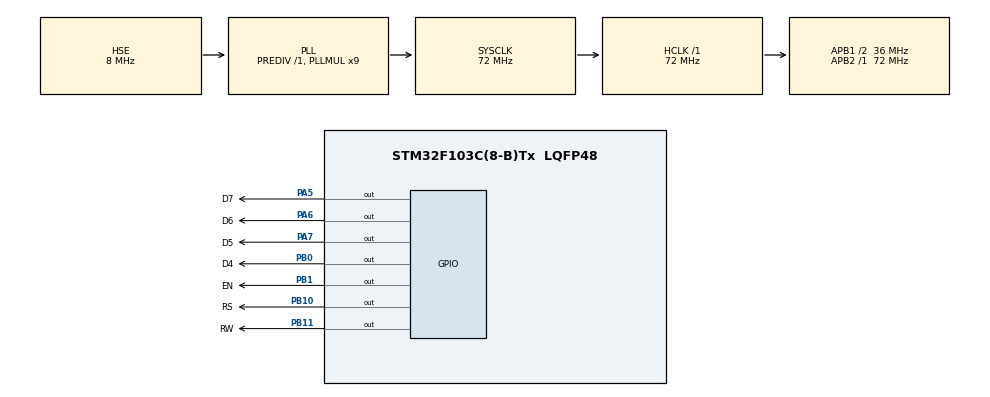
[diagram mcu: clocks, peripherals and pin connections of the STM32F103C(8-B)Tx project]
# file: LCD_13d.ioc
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Mcu.Family=STM32F1
Mcu.Name=STM32F103C(8-B)Tx
Mcu.Package=LQFP48
NVIC.PriorityGroup=NVIC_PRIORITYGROUP_4
PA13.Mode=Serial_Wire
PA13.Signal=SYS_JTMS-SWDIO
PA14.Mode=Serial_Wire
PA14.Signal=SYS_JTCK-SWCLK
PA5.GPIO_Label=D7
PA5.Signal=GPIO_Output
PA6.GPIO_Label=D6
PA6.Signal=GPIO_Output
PA7.GPIO_Label=D5
PA7.Signal=GPIO_Output
PB0.GPIO_Label=D4
PB0.Signal=GPIO_Output
PB1.GPIO_Label=EN
PB1.Signal=GPIO_Output
PB10.GPIO_Label=RS
PB10.Signal=GPIO_Output
PB11.GPIO_Label=RW
PB11.Signal=GPIO_Output
PD0-OSC_IN.Mode=HSE-External-Oscillator
PD0-OSC_IN.Signal=RCC_OSC_IN
PD1-OSC_OUT.Mode=HSE-External-Oscillator
PD1-OSC_OUT.Signal=RCC_OSC_OUT
ProjectManager.HeapSize=0x200
ProjectManager.StackSize=0x400
ProjectManager.TargetToolchain=MDK-ARM V5.32
RCC.AHBFreq_Value=72000000
RCC.APB1CLKDivider=RCC_HCLK_DIV2
RCC.APB1Freq_Value=36000000
RCC.APB1TimFreq_Value=72000000
RCC.APB2Freq_Value=72000000
RCC.APB2TimFreq_Value=72000000
RCC.HCLKFreq_Value=72000000
RCC.PLLMUL=RCC_PLL_MUL9
RCC.PLLSourceVirtual=RCC_PLLSOURCE_HSE
RCC.SYSCLKFreq_VALUE=72000000
RCC.SYSCLKSource=RCC_SYSCLKSOURCE_PLLCLK
RCC.USBFreq_Value=72000000
board=custom

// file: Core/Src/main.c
/* USER CODE BEGIN Header */
/**
  ******************************************************************************
  * @file           : main.c
  * @brief          : Main program body
  ******************************************************************************
  * @attention
  *
  * Copyright (c) 2022 STMicroelectronics.
  * All rights reserved.
  *
  * This software is licensed under terms that can be found in the LICENSE file
  * in the root directory of this software component.
  * If no LICENSE file comes with this software, it is provided AS-IS.
  *
  ******************************************************************************
  */
/* USER CODE END Header */
#include "main.h"

/* USER CODE BEGIN Includes */
#include "string.h"
/* USER CODE END Includes */

/* USER CODE BEGIN PV */
uint16_t i;
const unsigned char Font[] = {
															0x00, 0x04, 0x0A, 0x0E, 0x11, 0x11, 0x0E, 0x00,//?
															0x06, 0x0B, 0x0E, 0x01, 0x0F, 0x11, 0x0F, 0x00,//? huyen
															0x00, 0x04, 0x02, 0x0E, 0x11, 0x11, 0x0E, 0x00,//?
															0x05, 0x0A, 0x03, 0x0E, 0x11, 0x11, 0x0E, 0x00,//? nga
															0x0C, 0x0A, 0x09, 0x1D, 0x09, 0x0A, 0x0C, 0x00,// ?
															0x0C, 0x1A, 0x0E, 0x01, 0x0F, 0x11, 0x0F, 0x00,// ? sac
															0x99
														 };
const unsigned char Font2[] = {
															0x05, 0x0E, 0x0A, 0x0E, 0x11, 0x1E, 0x0E, 0x00,//? nga
															0x04, 0x0C, 0x0A, 0x0E, 0x11, 0x11, 0x0E, 0x00,//? sac
															0x00, 0x00, 0x03, 0x12, 0x12, 0x12, 0x0C, 0x00,// uw
															0x00, 0x00, 0x03, 0x0E, 0x11, 0x11, 0x0E, 0x00,// ow
															0x99
															};

const unsigned char line1_1[] = {0x54,0x72,0x01,0x6E,' ',0x43,0x00,0x6E,0x67,' ',0x48,0x02,0x61};
const unsigned char line1_2[] = {0x04,0x03,' ',0x54,0x75,0x05,0x6E,' ',0x44,0x75,0x79};
const unsigned char line1_3[] = {0x4E,0x67,' ',0x51,0x75,0x01,0x63,' ',0x44,0x02,0x03,0x6E,0x67};
void lcd_busy(void);
/* USER CODE END PV */

void SystemClock_Config(void);
static void MX_GPIO_Init(void);

/* USER CODE BEGIN 0 */
void write_to_lcd_4bits(uint8_t rs, uint8_t data)
{
	HAL_GPIO_WritePin(RS_GPIO_Port, RS_Pin, rs);
	HAL_GPIO_WritePin(RW_GPIO_Port, RW_Pin, 0);
	HAL_GPIO_WritePin(EN_GPIO_Port, EN_Pin, 1);

	HAL_GPIO_WritePin(D7_GPIO_Port, D7_Pin, ((data>>3)&0x01));
	HAL_GPIO_WritePin(D6_GPIO_Port, D6_Pin, ((data>>2)&0x01));
	HAL_GPIO_WritePin(D5_GPIO_Port, D5_Pin, ((data>>1)&0x01));
	HAL_GPIO_WritePin(D4_GPIO_Port, D4_Pin, ((data>>0)&0x01));

	for(i = 0; i < 72; i++)
	{
		__asm("NOP");
	}

	HAL_GPIO_WritePin(EN_GPIO_Port, EN_Pin, 0);
	lcd_busy();
}

void send_command(uint8_t data)
{
	write_to_lcd_4bits(0, (data>>4)&0x0f);
	write_to_lcd_4bits (0, (data>>0)&0x0f);
}

void display_lcd(uint8_t data)
{
	write_to_lcd_4bits(1, (data>>4)&0x0f);
	write_to_lcd_4bits (1, (data>>0)&0x0f);
}

void display_text(char *data)
{
	uint8_t j;
	for(j=0; j<strlen(data); j++)
	{
		display_lcd(data[j]);
	}
}

void  lcd_clear()
{
	send_command(0x01);
	lcd_busy();
}

void nap_tudien(void)
{
	char i = 0;
	send_command(0x40); // che do nap tu dien moi
	while(Font[i] != 0x99)
	{
		display_lcd(Font[i]);
		i++;
	}
}

void nap_tudien2(void)
{
	char i = 0;
	send_command(0x40); // che do nap tu dien moi
	while(Font2[i] != 0x99)
	{
		display_lcd(Font2[i]);
		i++;
	}
}

void set_cursor(uint8_t row, uint8_t col)
{
	uint8_t temp;
	switch(row)
	{
		case 0:
			temp = col|0x80;
		  break;
		case 1:
			temp = col|0xC0;
		  break;
		default:
			temp = col|0x80;
	}
	send_command(temp);
}

void lcd_config()
{
	send_command(0x28); //LCD 4bit, 2-line, 5x8 hieu 2
	lcd_busy();
	send_command(0x28); //LCD 4bit, 2-line, 5x8 hieu 8
	lcd_busy();
	send_command(0x0f);
	lcd_busy();
	send_command(0x06);
	lcd_busy();
	send_command(0x01);
	lcd_busy();
}

void lcd_busy(void)
{
	uint8_t busy_flag_copy;
	GPIO_InitTypeDef GPIO_InitStruct = {0};
	GPIO_InitStruct.Pin = GPIO_PIN_5;
  GPIO_InitStruct.Mode = GPIO_MODE_INPUT;
  GPIO_InitStruct.Pull = GPIO_NOPULL;
  HAL_GPIO_Init(GPIOA, &GPIO_InitStruct);

	HAL_GPIO_WritePin(RS_GPIO_Port, RS_Pin, 0);
	HAL_GPIO_WritePin(RW_GPIO_Port, RW_Pin, 1);
	do{
		busy_flag_copy = 0;
		HAL_GPIO_WritePin(EN_GPIO_Port, EN_Pin, 1);
		for(int i = 0; i < 72; i++);

		busy_flag_copy = HAL_GPIO_ReadPin(GPIOA, GPIO_PIN_5);

		HAL_GPIO_WritePin(EN_GPIO_Port, EN_Pin, 0);
		for(int i = 0; i < 72; i++);

		HAL_GPIO_WritePin(EN_GPIO_Port, EN_Pin, 1);
		for(int i = 0; i < 72; i++);

		HAL_GPIO_WritePin(EN_GPIO_Port, EN_Pin, 0);
		for(int i = 0; i < 72; i++);
	}while(busy_flag_copy);
	HAL_GPIO_WritePin(RW_GPIO_Port, RW_Pin, 0);
	GPIO_InitStruct.Pin = GPIO_PIN_5;
  GPIO_InitStruct.Mode = GPIO_MODE_OUTPUT_PP;
  GPIO_InitStruct.Pull = GPIO_NOPULL;
  GPIO_InitStruct.Speed = GPIO_SPEED_FREQ_LOW;
  HAL_GPIO_Init(GPIOA, &GPIO_InitStruct);
}

/* USER CODE END 0 */

int main(void)
{

  /* MCU Configuration--------------------------------------------------------*/

  /* Reset of all peripherals, Initializes the Flash interface and the Systick. */
  HAL_Init();

  /* Configure the system clock */
  SystemClock_Config();

  /* Initialize all configured peripherals */
  MX_GPIO_Init();
  /* USER CODE BEGIN 2 */
	lcd_config();

  /* USER CODE END 2 */

  /* Infinite loop */
  while (1)
  {

    /* USER CODE BEGIN 3 */
		lcd_clear();
		nap_tudien();
		set_cursor(0,2);
		for(int i = 0 ; i < 13; i++)
		{
			display_lcd(line1_1[i]);
		}
		set_cursor(1,4);
		display_text("20017691");
		HAL_Delay(5000);
		lcd_clear();
		set_cursor(0,2);
		for(int i = 0 ; i < 11; i++)
		{
			display_lcd(line1_2[i]);
		}
		set_cursor(1,4);
		display_text("20061261");
		HAL_Delay(5000);
		lcd_clear();
		nap_tudien2();
		set_cursor(0,1);
		for(int i = 0 ; i < 13; i++)
		{
			display_lcd(line1_3[i]);
		}
		set_cursor(1,4);
		display_text("20123251");
		HAL_Delay(5000);
	}

  /* USER CODE END 3 */
}

void SystemClock_Config(void)
{
  RCC_OscInitTypeDef RCC_OscInitStruct = {0};
  RCC_ClkInitTypeDef RCC_ClkInitStruct = {0};

  /** Initializes the RCC Oscillators according to the specified parameters
  * in the RCC_OscInitTypeDef structure.
  */
  RCC_OscInitStruct.OscillatorType = RCC_OSCILLATORTYPE_HSE;
  RCC_OscInitStruct.HSEState = RCC_HSE_ON;
  RCC_OscInitStruct.HSEPredivValue = RCC_HSE_PREDIV_DIV1;
  RCC_OscInitStruct.HSIState = RCC_HSI_ON;
  RCC_OscInitStruct.PLL.PLLState = RCC_PLL_ON;
  RCC_OscInitStruct.PLL.PLLSource = RCC_PLLSOURCE_HSE;
  RCC_OscInitStruct.PLL.PLLMUL = RCC_PLL_MUL9;
  if (HAL_RCC_OscConfig(&RCC_OscInitStruct) != HAL_OK)
  {
    Error_Handler();
  }

  /** Initializes the CPU, AHB and APB buses clocks
  */
  RCC_ClkInitStruct.ClockType = RCC_CLOCKTYPE_HCLK|RCC_CLOCKTYPE_SYSCLK
                              |RCC_CLOCKTYPE_PCLK1|RCC_CLOCKTYPE_PCLK2;
  RCC_ClkInitStruct.SYSCLKSource = RCC_SYSCLKSOURCE_PLLCLK;
  RCC_ClkInitStruct.AHBCLKDivider = RCC_SYSCLK_DIV1;
  RCC_ClkInitStruct.APB1CLKDivider = RCC_HCLK_DIV2;
  RCC_ClkInitStruct.APB2CLKDivider = RCC_HCLK_DIV1;

  if (HAL_RCC_ClockConfig(&RCC_ClkInitStruct, FLASH_LATENCY_2) != HAL_OK)
  {
    Error_Handler();
  }
}

static void MX_GPIO_Init(void)
{
  GPIO_InitTypeDef GPIO_InitStruct = {0};

  /* GPIO Ports Clock Enable */
  __HAL_RCC_GPIOD_CLK_ENABLE();
  __HAL_RCC_GPIOA_CLK_ENABLE();
  __HAL_RCC_GPIOB_CLK_ENABLE();

  /*Configure GPIO pin Output Level */
  HAL_GPIO_WritePin(GPIOA, GPIO_PIN_5|GPIO_PIN_6|GPIO_PIN_7, GPIO_PIN_RESET);

  /*Configure GPIO pin Output Level */
  HAL_GPIO_WritePin(GPIOB, GPIO_PIN_0|GPIO_PIN_1|GPIO_PIN_10|GPIO_PIN_11, GPIO_PIN_RESET);

  /*Configure GPIO pins : PA5 PA6 PA7 */
  GPIO_InitStruct.Pin = GPIO_PIN_5|GPIO_PIN_6|GPIO_PIN_7;
  GPIO_InitStruct.Mode = GPIO_MODE_OUTPUT_PP;
  GPIO_InitStruct.Pull = GPIO_NOPULL;
  GPIO_InitStruct.Speed = GPIO_SPEED_FREQ_LOW;
  HAL_GPIO_Init(GPIOA, &GPIO_InitStruct);

  /*Configure GPIO pins : PB0 PB1 PB10 PB11 */
  GPIO_InitStruct.Pin = GPIO_PIN_0|GPIO_PIN_1|GPIO_PIN_10|GPIO_PIN_11;
  GPIO_InitStruct.Mode = GPIO_MODE_OUTPUT_PP;
  GPIO_InitStruct.Pull = GPIO_NOPULL;
  GPIO_InitStruct.Speed = GPIO_SPEED_FREQ_LOW;
  HAL_GPIO_Init(GPIOB, &GPIO_InitStruct);

}

void Error_Handler(void)
{
  __disable_irq();
  while (1)
  {
  }
}
